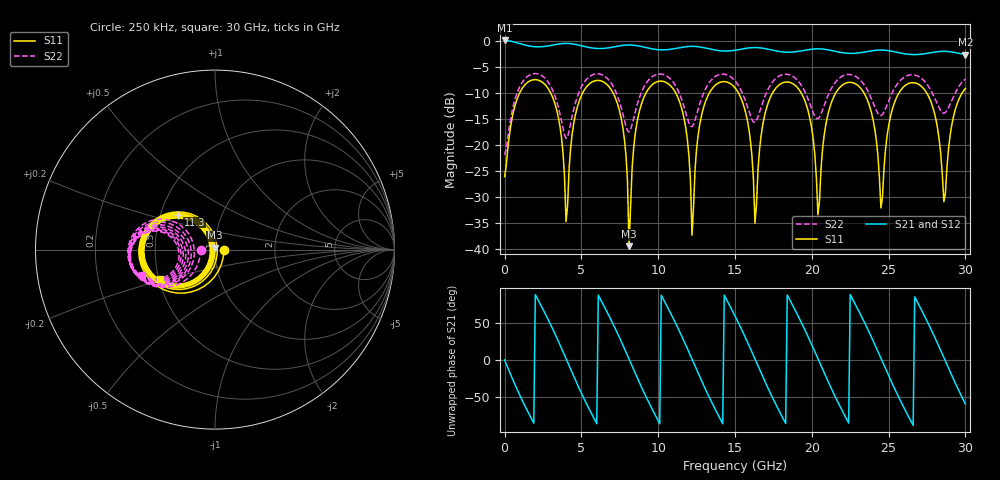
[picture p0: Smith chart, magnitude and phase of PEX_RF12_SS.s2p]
! Port 1 = P1 P2
! Port 2 = P2 P2
# hz S ri R 50
! freq  reS11  imS11  reS21  imS21  reS12  imS12  reS22  imS22
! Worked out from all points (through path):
!   301 points, 250 kHz to 30 GHz, reference 50 ohm
!   highest |S21| = 0.11 dB at 250 kHz (marker M1); lowest = -2.6 dB at 30 GHz (marker M2)
!   lowest |S11| = -39.5 dB at 8.1 GHz (marker M3), VSWR 1.02, Z = 49.9 + j1.05 ohm
!   |S11| at or under -10 dB: 7.06 GHz to 9.208 GHz (2.149 GHz wide, 26.4 % of centre); 23.4 GHz to 25.68 GHz (2.279 GHz wide, 9.29 % of centre); 27.48 GHz to 29.79 GHz (2.308 GHz wide, 8.06 % of centre)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
!   |S22| runs from -21.9 to -6.3 dB; largest |S21 - S12| = 0
!   S11 on the Smith chart (normalised r, x): 250 kHz: 1.10, -0.00; 11.3 GHz: 0.62, +0.26; 30 GHz: 0.51, -0.19
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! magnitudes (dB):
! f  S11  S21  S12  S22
! 250 kHz  -26.1  0.1  0.1  -21.9
! 2.5 GHz  -8.0  -1.1  -1.1  -6.8
! 4 GHz  -34.8  -0.5  -0.5  -18.7
! 5.1 GHz  -9.9  -1.0  -1.0  -8.3
! 7.4 GHz  -12.6  -1.0  -1.0  -11.0
! 8.1 GHz  -39.5  -0.8  -0.8  -17.5
! 8.6 GHz  -16.0  -0.9  -0.9  -12.6
! 10.1 GHz  -7.7  -1.7  -1.7  -6.4
! 11.3 GHz  -11.0  -1.3  -1.3  -9.6
! 12.2 GHz  -37.4  -1.0  -1.0  -16.5
! 13 GHz  -12.4  -1.3  -1.3  -9.7
! 15.1 GHz  -9.4  -1.7  -1.7  -8.0
! 16.3 GHz  -35.1  -1.3  -1.3  -15.6
! 17.6 GHz  -9.3  -1.9  -1.9  -7.4
! 20.1 GHz  -19.1  -1.5  -1.5  -13.9
! 20.4 GHz  -33.5  -1.5  -1.5  -15.0
! 23.1 GHz  -8.8  -2.3  -2.3  -7.4
! 24.5 GHz  -32.2  -1.7  -1.7  -14.4
! 25.1 GHz  -14.9  -1.9  -1.9  -10.9
! 27.4 GHz  -9.6  -2.4  -2.4  -8.0
! 28.6 GHz  -31.0  -2.0  -2.0  -13.9
! 30 GHz  -9.1  -2.6  -2.6  -7.3
